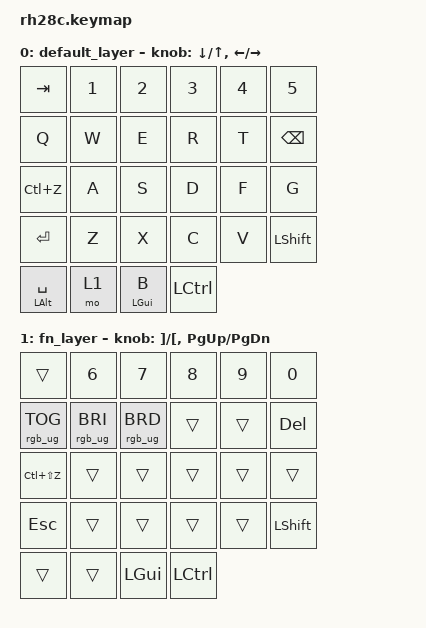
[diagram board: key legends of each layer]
#include <behaviors.dtsi>
#include <dt-bindings/zmk/keys.h>
#include <dt-bindings/zmk/rgb.h>
&mt {
    tapping-term-ms = <300>;
};
/ {
    keymap {
        compatible = "zmk,keymap";

        default_layer {
            // 位置番号 = SW番号 - 1
            // row4 (top row)  SW1-SW6
            // row3            SW7-SW12
            // row2            SW13-SW18
            // row1            SW19-SW24
            // row0 (bottom)   SW25,SW26,SW27,SW28
            bindings = <
                &kp TAB       &kp N1   &kp N2   &kp N3   &kp N4   &kp N5
                &kp Q         &kp W    &kp E    &kp R    &kp T    &kp BSPC
                &kp LC(Z)     &kp A    &kp S    &kp D    &kp F    &kp G
                &kp RET       &kp Z    &kp X    &kp C    &kp V    &kp LSHFT
                &mt LALT SPACE  &mo 1  &mt LGUI B  &kp LCTRL
            >;
            sensor-bindings = <&inc_dec_kp DOWN UP &inc_dec_kp LEFT RIGHT>;
        };

        fn_layer {
            bindings = <
                &trans                &kp N6          &kp N7          &kp N8   &kp N9   &kp N0
                &rgb_ug RGB_TOG       &rgb_ug RGB_BRI &rgb_ug RGB_BRD &trans   &trans   &kp DEL
                &kp LC(LS(Z))         &trans          &trans          &trans   &trans   &trans
                &kp ESC               &trans          &trans          &trans   &trans   &kp LSHFT
                &trans  &trans  &kp LGUI  &kp LCTRL
            >;
            sensor-bindings = <&inc_dec_kp RBKT LBKT &inc_dec_kp PG_UP PG_DN>;
        };
    };
};
